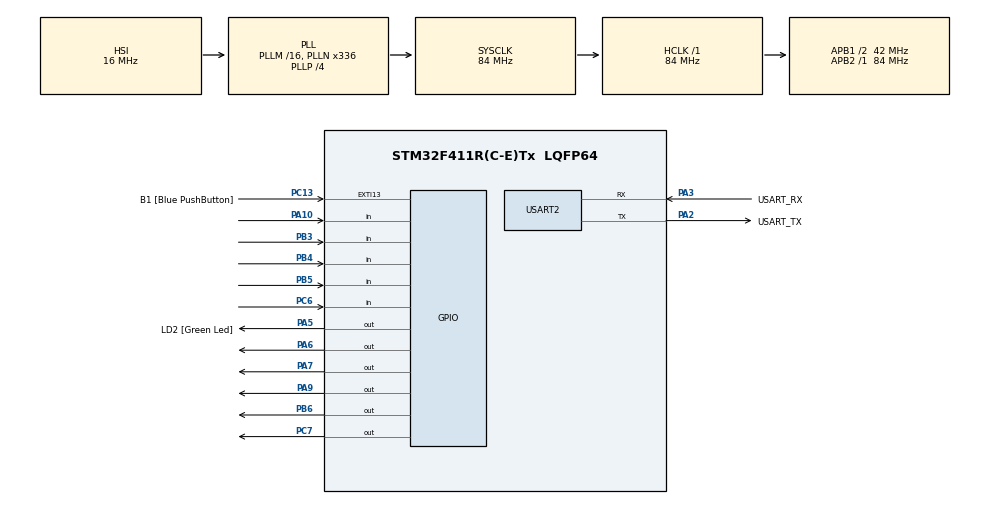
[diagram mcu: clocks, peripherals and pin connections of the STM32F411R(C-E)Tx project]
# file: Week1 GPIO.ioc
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Mcu.Family=STM32F4
Mcu.Name=STM32F411R(C-E)Tx
Mcu.Package=LQFP64
NVIC.PriorityGroup=NVIC_PRIORITYGROUP_0
PA10.Signal=GPIO_Input
PA13.GPIO_Label=TMS
PA13.Mode=Serial_Wire
PA13.Signal=SYS_JTMS-SWDIO
PA14.GPIO_Label=TCK
PA14.Mode=Serial_Wire
PA14.Signal=SYS_JTCK-SWCLK
PA2.GPIO_Label=USART_TX
PA2.Mode=Asynchronous
PA2.Signal=USART2_TX
PA3.GPIO_Label=USART_RX
PA3.Mode=Asynchronous
PA3.Signal=USART2_RX
PA5.GPIO_Label=LD2 [Green Led]
PA5.Signal=GPIO_Output
PA6.Signal=GPIO_Output
PA7.Signal=GPIO_Output
PA9.Signal=GPIO_Output
PB3.Signal=GPIO_Input
PB4.Signal=GPIO_Input
PB5.Signal=GPIO_Input
PB6.Signal=GPIO_Output
PC13-ANTI_TAMP.GPIO_Label=B1 [Blue PushButton]
PC13-ANTI_TAMP.GPIO_ModeDefaultEXTI=GPIO_MODE_IT_FALLING
PC13-ANTI_TAMP.Signal=GPXTI13
PC14-OSC32_IN.Mode=LSE-External-Oscillator
PC14-OSC32_IN.Signal=RCC_OSC32_IN
PC15-OSC32_OUT.Mode=LSE-External-Oscillator
PC15-OSC32_OUT.Signal=RCC_OSC32_OUT
PC6.Signal=GPIO_Input
PC7.Signal=GPIO_Output
PH0\ -\ OSC_IN.Mode=HSE-External-Clock-Source
PH0\ -\ OSC_IN.Signal=RCC_OSC_IN
PH1\ -\ OSC_OUT.Mode=HSE-External-Clock-Source
PH1\ -\ OSC_OUT.Signal=RCC_OSC_OUT
ProjectManager.HeapSize=0x200
ProjectManager.StackSize=0x400
ProjectManager.TargetToolchain=STM32CubeIDE
RCC.48MHZClocksFreq_Value=84000000
RCC.AHBFreq_Value=84000000
RCC.APB1CLKDivider=RCC_HCLK_DIV2
RCC.APB1Freq_Value=42000000
RCC.APB1TimFreq_Value=84000000
RCC.APB2Freq_Value=84000000
RCC.APB2TimFreq_Value=84000000
RCC.CortexFreq_Value=84000000
RCC.FLatency-AdvancedSettings=FLASH_LATENCY_2
RCC.HCLKFreq_Value=84000000
RCC.HSE_VALUE=8000000
RCC.HSI_VALUE=16000000
RCC.PLLN=336
RCC.PLLP=RCC_PLLP_DIV4
RCC.SYSCLKFreq_VALUE=84000000
RCC.SYSCLKSource=RCC_SYSCLKSOURCE_PLLCLK
RCC.VCOOutputFreq_Value=336000000
USART2.VirtualMode=VM_ASYNC
board=NUCLEO-F411RE

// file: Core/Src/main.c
/* USER CODE BEGIN Header */
/**
 ******************************************************************************
 * @file           : main.c
 * @brief          : Main program body
 ******************************************************************************
 * @attention
 *
 * <h2><center>&copy; Copyright (c) 2021 STMicroelectronics.
 * All rights reserved.</center></h2>
 *
 * This software component is licensed by ST under BSD 3-Clause license,
 * the "License"; You may not use this file except in compliance with the
 * License. You may obtain a copy of the License at:
 *                        opensource.org/licenses/BSD-3-Clause
 *
 ******************************************************************************
 */
/* USER CODE END Header */
#include "main.h"

UART_HandleTypeDef huart2;

void SystemClock_Config(void);
static void MX_GPIO_Init(void);
static void MX_USART2_UART_Init(void);

int main(void)
{

  /* MCU Configuration--------------------------------------------------------*/

  /* Reset of all peripherals, Initializes the Flash interface and the Systick. */
  HAL_Init();

  /* Configure the system clock */
  SystemClock_Config();

  /* Initialize all configured peripherals */
  MX_GPIO_Init();
  MX_USART2_UART_Init();
  /* USER CODE BEGIN 2 */
	//------------------------------------------------------
	GPIO_PinState SwitchState1[2];  //Now, Previous
	GPIO_PinState SwitchState2[2];
	GPIO_PinState SwitchState3[2];
	uint16_t LED1_Half_Period = 500;  // 1 Hz
	uint32_t TimeStamp = 0;
	uint32_t TimeStamp2 = 0;
	uint32_t ButtonTimeStamp = 0;
	int mode = 0;

	//------------------------------------------------------
  /* USER CODE END 2 */

  /* Infinite loop */
  /* USER CODE BEGIN WHILE */
	while (1) {
		if (HAL_GetTick() - ButtonTimeStamp >= 100) {
			ButtonTimeStamp = HAL_GetTick();

			SwitchState1[0] = HAL_GPIO_ReadPin(GPIOA, GPIO_PIN_10);
			SwitchState2[0] = HAL_GPIO_ReadPin(GPIOB, GPIO_PIN_3);

			//Press = Low , No = High
			if (SwitchState1[0] == GPIO_PIN_SET
					&& SwitchState1[1] == GPIO_PIN_RESET)
					// set = high , reset = low
							{
				//Change Half Period of LED 1
				if (LED1_Half_Period == 1000) {
					LED1_Half_Period = 500;
				} else if (LED1_Half_Period == 500) {
					LED1_Half_Period = 250;
				} else if (LED1_Half_Period == 250) {
					LED1_Half_Period = 167;
				} else if (LED1_Half_Period == 167) {
					LED1_Half_Period = 1000;
				}
			}
		}
		SwitchState1[1] = SwitchState1[0];

		if (SwitchState2[0] == GPIO_PIN_SET
				&& SwitchState2[1] == GPIO_PIN_RESET) {
			if (HAL_GPIO_ReadPin(GPIOB, GPIO_PIN_6) == GPIO_PIN_SET) {
				HAL_GPIO_WritePin(GPIOB, GPIO_PIN_6, GPIO_PIN_RESET);
			} else if (HAL_GPIO_ReadPin(GPIOB, GPIO_PIN_6) == GPIO_PIN_RESET) {
				HAL_GPIO_WritePin(GPIOB, GPIO_PIN_6, GPIO_PIN_SET);
			}
		}

		SwitchState2[1] = SwitchState2[0];
		// ex3

		SwitchState3[0] = HAL_GPIO_ReadPin(GPIOB, GPIO_PIN_5);
		if (SwitchState3[0] == GPIO_PIN_SET
				&& SwitchState3[1] == GPIO_PIN_RESET) {
			if (mode == 0) {
				mode = 1;
				HAL_GPIO_WritePin(GPIOA, GPIO_PIN_6, GPIO_PIN_SET);
			} else   {
				mode = 0;
			}

		}
		SwitchState3[1] = SwitchState3[0];

		//Run LED1
		if (HAL_GetTick() - TimeStamp >= LED1_Half_Period) //millisecond now time
				{
			TimeStamp = HAL_GetTick();
			if (HAL_GPIO_ReadPin(GPIOC, GPIO_PIN_7) == GPIO_PIN_SET) {
				HAL_GPIO_WritePin(GPIOC, GPIO_PIN_7, GPIO_PIN_RESET);
			} else {
				HAL_GPIO_WritePin(GPIOC, GPIO_PIN_7, GPIO_PIN_SET);
			}
		}

		//LED3
		if (mode == 1) {

			if (HAL_GetTick() - TimeStamp2 <= 500) {
				HAL_GPIO_WritePin(GPIOA, GPIO_PIN_7, GPIO_PIN_SET);
			} else if (HAL_GetTick() - TimeStamp2 >= 500
					&& HAL_GetTick() - TimeStamp2 <= 2000) {
				HAL_GPIO_WritePin(GPIOA, GPIO_PIN_7, GPIO_PIN_RESET);
			} else if (HAL_GetTick() - TimeStamp2 >= 2000) {
				TimeStamp2 = HAL_GetTick();
			}
		}

		else if (mode == 0) {
			//if(HAL_GPIO_ReadPin(GPIOA, GPIO_PIN_7) == GPIO_PIN_RESET) {

			if (HAL_GetTick() - TimeStamp2 <= 1500) {
				HAL_GPIO_WritePin(GPIOA, GPIO_PIN_7, GPIO_PIN_SET);
			}

			else if (HAL_GetTick() - TimeStamp2 >= 1500
					&& HAL_GetTick() - TimeStamp2 <= 2000) {
				HAL_GPIO_WritePin(GPIOA, GPIO_PIN_7, GPIO_PIN_RESET);
			} else if (HAL_GetTick() - TimeStamp2 >= 2000){
				TimeStamp2 = HAL_GetTick();
			}
		}

		//mode=0;
		//}
	}

    /* USER CODE END WHILE */

}

void SystemClock_Config(void)
{
  RCC_OscInitTypeDef RCC_OscInitStruct = {0};
  RCC_ClkInitTypeDef RCC_ClkInitStruct = {0};

  /** Configure the main internal regulator output voltage
  */
  __HAL_RCC_PWR_CLK_ENABLE();
  __HAL_PWR_VOLTAGESCALING_CONFIG(PWR_REGULATOR_VOLTAGE_SCALE1);
  /** Initializes the RCC Oscillators according to the specified parameters
  * in the RCC_OscInitTypeDef structure.
  */
  RCC_OscInitStruct.OscillatorType = RCC_OSCILLATORTYPE_HSI;
  RCC_OscInitStruct.HSIState = RCC_HSI_ON;
  RCC_OscInitStruct.HSICalibrationValue = RCC_HSICALIBRATION_DEFAULT;
  RCC_OscInitStruct.PLL.PLLState = RCC_PLL_ON;
  RCC_OscInitStruct.PLL.PLLSource = RCC_PLLSOURCE_HSI;
  RCC_OscInitStruct.PLL.PLLM = 16;
  RCC_OscInitStruct.PLL.PLLN = 336;
  RCC_OscInitStruct.PLL.PLLP = RCC_PLLP_DIV4;
  RCC_OscInitStruct.PLL.PLLQ = 4;
  if (HAL_RCC_OscConfig(&RCC_OscInitStruct) != HAL_OK)
  {
    Error_Handler();
  }
  /** Initializes the CPU, AHB and APB buses clocks
  */
  RCC_ClkInitStruct.ClockType = RCC_CLOCKTYPE_HCLK|RCC_CLOCKTYPE_SYSCLK
                              |RCC_CLOCKTYPE_PCLK1|RCC_CLOCKTYPE_PCLK2;
  RCC_ClkInitStruct.SYSCLKSource = RCC_SYSCLKSOURCE_PLLCLK;
  RCC_ClkInitStruct.AHBCLKDivider = RCC_SYSCLK_DIV1;
  RCC_ClkInitStruct.APB1CLKDivider = RCC_HCLK_DIV2;
  RCC_ClkInitStruct.APB2CLKDivider = RCC_HCLK_DIV1;

  if (HAL_RCC_ClockConfig(&RCC_ClkInitStruct, FLASH_LATENCY_2) != HAL_OK)
  {
    Error_Handler();
  }
}

static void MX_USART2_UART_Init(void)
{

  huart2.Instance = USART2;
  huart2.Init.BaudRate = 115200;
  huart2.Init.WordLength = UART_WORDLENGTH_8B;
  huart2.Init.StopBits = UART_STOPBITS_1;
  huart2.Init.Parity = UART_PARITY_NONE;
  huart2.Init.Mode = UART_MODE_TX_RX;
  huart2.Init.HwFlowCtl = UART_HWCONTROL_NONE;
  huart2.Init.OverSampling = UART_OVERSAMPLING_16;
  if (HAL_UART_Init(&huart2) != HAL_OK)
  {
    Error_Handler();
  }

}

static void MX_GPIO_Init(void)
{
  GPIO_InitTypeDef GPIO_InitStruct = {0};

  /* GPIO Ports Clock Enable */
  __HAL_RCC_GPIOC_CLK_ENABLE();
  __HAL_RCC_GPIOH_CLK_ENABLE();
  __HAL_RCC_GPIOA_CLK_ENABLE();
  __HAL_RCC_GPIOB_CLK_ENABLE();

  /*Configure GPIO pin Output Level */
  HAL_GPIO_WritePin(GPIOA, LD2_Pin|GPIO_PIN_6|GPIO_PIN_7|GPIO_PIN_9, GPIO_PIN_RESET);

  /*Configure GPIO pin Output Level */
  HAL_GPIO_WritePin(GPIOC, GPIO_PIN_7, GPIO_PIN_RESET);

  /*Configure GPIO pin Output Level */
  HAL_GPIO_WritePin(GPIOB, GPIO_PIN_6, GPIO_PIN_RESET);

  /*Configure GPIO pin : B1_Pin */
  GPIO_InitStruct.Pin = B1_Pin;
  GPIO_InitStruct.Mode = GPIO_MODE_IT_FALLING;
  GPIO_InitStruct.Pull = GPIO_NOPULL;
  HAL_GPIO_Init(B1_GPIO_Port, &GPIO_InitStruct);

  /*Configure GPIO pins : LD2_Pin PA6 PA7 PA9 */
  GPIO_InitStruct.Pin = LD2_Pin|GPIO_PIN_6|GPIO_PIN_7|GPIO_PIN_9;
  GPIO_InitStruct.Mode = GPIO_MODE_OUTPUT_PP;
  GPIO_InitStruct.Pull = GPIO_NOPULL;
  GPIO_InitStruct.Speed = GPIO_SPEED_FREQ_LOW;
  HAL_GPIO_Init(GPIOA, &GPIO_InitStruct);

  /*Configure GPIO pin : PC6 */
  GPIO_InitStruct.Pin = GPIO_PIN_6;
  GPIO_InitStruct.Mode = GPIO_MODE_INPUT;
  GPIO_InitStruct.Pull = GPIO_NOPULL;
  HAL_GPIO_Init(GPIOC, &GPIO_InitStruct);

  /*Configure GPIO pin : PC7 */
  GPIO_InitStruct.Pin = GPIO_PIN_7;
  GPIO_InitStruct.Mode = GPIO_MODE_OUTPUT_PP;
  GPIO_InitStruct.Pull = GPIO_NOPULL;
  GPIO_InitStruct.Speed = GPIO_SPEED_FREQ_LOW;
  HAL_GPIO_Init(GPIOC, &GPIO_InitStruct);

  /*Configure GPIO pin : PA10 */
  GPIO_InitStruct.Pin = GPIO_PIN_10;
  GPIO_InitStruct.Mode = GPIO_MODE_INPUT;
  GPIO_InitStruct.Pull = GPIO_NOPULL;
  HAL_GPIO_Init(GPIOA, &GPIO_InitStruct);

  /*Configure GPIO pins : PB3 PB4 PB5 */
  GPIO_InitStruct.Pin = GPIO_PIN_3|GPIO_PIN_4|GPIO_PIN_5;
  GPIO_InitStruct.Mode = GPIO_MODE_INPUT;
  GPIO_InitStruct.Pull = GPIO_NOPULL;
  HAL_GPIO_Init(GPIOB, &GPIO_InitStruct);

  /*Configure GPIO pin : PB6 */
  GPIO_InitStruct.Pin = GPIO_PIN_6;
  GPIO_InitStruct.Mode = GPIO_MODE_OUTPUT_PP;
  GPIO_InitStruct.Pull = GPIO_NOPULL;
  GPIO_InitStruct.Speed = GPIO_SPEED_FREQ_LOW;
  HAL_GPIO_Init(GPIOB, &GPIO_InitStruct);

}

void Error_Handler(void)
{
		__disable_irq();
		while (1) {
		}
}

/************************ (C) COPYRIGHT STMicroelectronics *****END OF FILE****/
